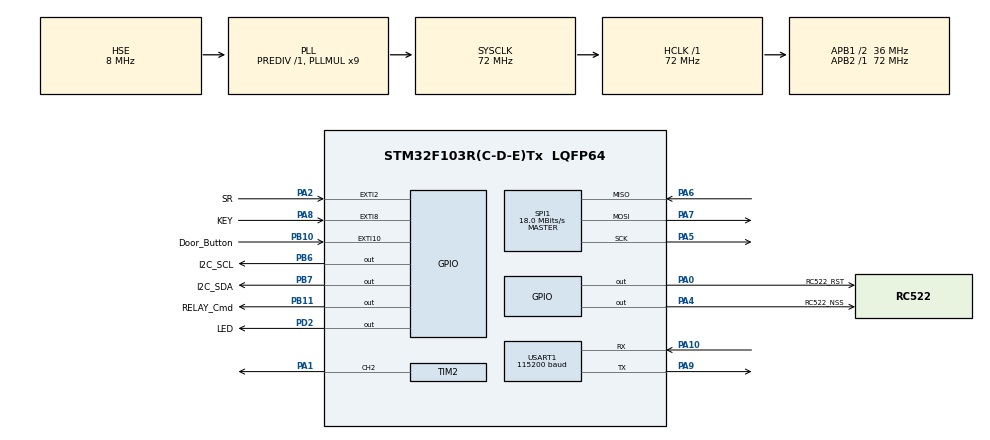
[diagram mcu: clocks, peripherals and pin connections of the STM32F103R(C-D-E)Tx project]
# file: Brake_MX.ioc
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Mcu.Family=STM32F1
Mcu.Name=STM32F103R(C-D-E)Tx
Mcu.Package=LQFP64
NVIC.EXTI15_10_IRQn=true\:15\:0\:true\:false\:true\:true\:true\:true
NVIC.EXTI9_5_IRQn=true\:15\:0\:true\:false\:true\:true\:true\:true
NVIC.PriorityGroup=NVIC_PRIORITYGROUP_4
PA0-WKUP.GPIO_Label=RC522_RST
PA0-WKUP.GPIO_ModeDefaultOutputPP=GPIO_MODE_OUTPUT_PP
PA0-WKUP.GPIO_PuPd=GPIO_PULLUP
PA0-WKUP.PinState=GPIO_PIN_SET
PA0-WKUP.Signal=GPIO_Output
PA1.Signal=S_TIM2_CH2
PA10.Mode=Asynchronous
PA10.Signal=USART1_RX
PA2.GPIO_Label=SR
PA2.GPIO_ModeDefaultEXTI=GPIO_MODE_IT_FALLING
PA2.GPIO_PuPd=GPIO_PULLUP
PA2.Signal=GPXTI2
PA4.GPIO_Label=RC522_NSS
PA4.GPIO_PuPd=GPIO_PULLUP
PA4.PinState=GPIO_PIN_SET
PA4.Signal=GPIO_Output
PA5.GPIO_Speed=GPIO_SPEED_FREQ_HIGH
PA5.Mode=Full_Duplex_Master
PA5.Signal=SPI1_SCK
PA6.GPIO_Mode=GPIO_MODE_INPUT
PA6.GPIO_PuPd=GPIO_NOPULL
PA6.Mode=Full_Duplex_Master
PA6.Signal=SPI1_MISO
PA7.Mode=Full_Duplex_Master
PA7.Signal=SPI1_MOSI
PA8.GPIO_Label=KEY
PA8.GPIO_ModeDefaultEXTI=GPIO_MODE_IT_FALLING
PA8.GPIO_PuPd=GPIO_PULLUP
PA8.Signal=GPXTI8
PA9.Mode=Asynchronous
PA9.Signal=USART1_TX
PB10.GPIO_Label=Door_Button
PB10.GPIO_ModeDefaultEXTI=GPIO_MODE_IT_FALLING
PB10.GPIO_PuPd=GPIO_PULLUP
PB10.Signal=GPXTI10
PB11.GPIO_Label=RELAY_Cmd
PB11.GPIO_PuPd=GPIO_PULLUP
PB11.PinState=GPIO_PIN_SET
PB11.Signal=GPIO_Output
PB6.GPIO_Label=I2C_SCL
PB6.GPIO_ModeDefaultOutputPP=GPIO_MODE_OUTPUT_OD
PB6.GPIO_PuPd=GPIO_PULLUP
PB6.GPIO_Speed=GPIO_SPEED_FREQ_HIGH
PB6.PinState=GPIO_PIN_SET
PB6.Signal=GPIO_Output
PB7.GPIO_Label=I2C_SDA
PB7.GPIO_ModeDefaultOutputPP=GPIO_MODE_OUTPUT_OD
PB7.GPIO_PuPd=GPIO_PULLUP
PB7.GPIO_Speed=GPIO_SPEED_FREQ_HIGH
PB7.PinState=GPIO_PIN_SET
PB7.Signal=GPIO_Output
PD0-OSC_IN.Mode=HSE-External-Oscillator
PD0-OSC_IN.Signal=RCC_OSC_IN
PD1-OSC_OUT.Mode=HSE-External-Oscillator
PD1-OSC_OUT.Signal=RCC_OSC_OUT
PD2.GPIO_Label=LED
PD2.GPIO_PuPd=GPIO_PULLUP
PD2.PinState=GPIO_PIN_SET
PD2.Signal=GPIO_Output
ProjectManager.HeapSize=0x200
ProjectManager.StackSize=0x400
ProjectManager.TargetToolchain=MDK-ARM V5.32
RCC.AHBFreq_Value=72000000
RCC.APB1CLKDivider=RCC_HCLK_DIV2
RCC.APB1Freq_Value=36000000
RCC.APB1TimFreq_Value=72000000
RCC.APB2Freq_Value=72000000
RCC.APB2TimFreq_Value=72000000
RCC.HCLKFreq_Value=72000000
RCC.PLLMUL=RCC_PLL_MUL9
RCC.PLLSourceVirtual=RCC_PLLSOURCE_HSE
RCC.SYSCLKFreq_VALUE=72000000
RCC.SYSCLKSource=RCC_SYSCLKSOURCE_PLLCLK
RCC.USBFreq_Value=72000000
SH.S_TIM2_CH2.0=TIM2_CH2,PWM Generation2 CH2
SPI1.BaudRatePrescaler=SPI_BAUDRATEPRESCALER_4
SPI1.CLKPhase=SPI_PHASE_2EDGE
SPI1.CLKPolarity=SPI_POLARITY_HIGH
SPI1.CalculateBaudRate=18.0 MBits/s
SPI1.Direction=SPI_DIRECTION_2LINES
SPI1.Mode=SPI_MODE_MASTER
SPI1.VirtualType=VM_MASTER
TIM2.AutoReloadPreload=TIM_AUTORELOAD_PRELOAD_ENABLE
TIM2.Channel-PWM\ Generation2\ CH2=TIM_CHANNEL_2
TIM2.Period=200
TIM2.Prescaler=7199
TIM2.Pulse-PWM\ Generation2\ CH2=10
USART1.BaudRate=115200
USART1.VirtualMode=VM_ASYNC
VP_SYS_VS_ND.Mode=No_Debug
VP_TIM2_VS_ClockSourceINT.Mode=Internal
board=custom

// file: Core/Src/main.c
/* USER CODE BEGIN Header */
/**
  ******************************************************************************
  * @file           : main.c
  * @brief          : Main program body
  ******************************************************************************
  * @attention
  *
  * Copyright (c) 2023 STMicroelectronics.
  * All rights reserved.
  *
  * This software is licensed under terms that can be found in the LICENSE file
  * in the root directory of this software component.
  * If no LICENSE file comes with this software, it is provided AS-IS.
  *
  ******************************************************************************
  */
/* USER CODE END Header */
#include "main.h"
#include "spi.h"
#include "tim.h"
#include "usart.h"
#include "gpio.h"

/* USER CODE BEGIN Includes */
#include "bsp_at24c02.h"
#include "bsp_rc522.h"
#include "brake.h"
#include "show.h"
/* USER CODE END Includes */

/* USER CODE BEGIN PM */
void IIC_Init(void);		//初始化引脚
/* USER CODE END PM */

/* USER CODE BEGIN PV */
uint8_t EEPORM[256] = {0};
uint8_t cardbuf[4];       //用来存储读到的卡号

uint8_t SystemStatus = SYSTEMSTATUS_WAIT;
/* USER CODE END PV */

void SystemClock_Config(void);

int main(void)
{
  /* USER CODE BEGIN 1 */
  uint8_t res;              //用来存储读取结果

  /* USER CODE END 1 */

  /* MCU Configuration--------------------------------------------------------*/

  /* Reset of all peripherals, Initializes the Flash interface and the Systick. */
  HAL_Init();

  /* Configure the system clock */
  SystemClock_Config();

  /* Initialize all configured peripherals */
  MX_GPIO_Init();
  MX_SPI1_Init();
  MX_TIM2_Init();
  MX_USART1_UART_Init();
  /* USER CODE BEGIN 2 */
  InitializeSystem();     /* RC522的初始化，不包括GPIO  */
  IIC_Init();             /* AT24C02不需要初始化，IIC引脚已经在GPIO_Init()里初始化了 */
  Card_Load();            /* 加载卡片数据 */

  HAL_TIM_PWM_Start(&htim2 , TIM_CHANNEL_2);
  Show_State();

  AT24C02_Clear(0x00);
  Card_Load();            /* 加载卡片数据 */
  /* USER CODE END 2 */

  /* Infinite loop */
  /* USER CODE BEGIN WHILE */
  while (1)
  {
    res = RC522_Read(cardbuf);

    if(!res)continue;                       /* 没读到的卡，继续循环 */
    if(SystemStatus == SYSTEMSTATUS_WAIT)    //等卡状态
    {
      if(Card_Check(cardbuf))
      {
        Show_Open(1);
        Door_Open();
      }
      else
      {
        Show_Open(0);
        HAL_Delay(2000);
      }
      //print_Card(cardbuf);
    }

    if(SystemStatus == SYSTEMSTATUS_ADD)    /* 增加卡片状态 */
    {
      if(Card_Check(cardbuf))
      {
        Show_Add(0);
      }
      else
      {
        Show_Add(1);
        Card_Save(cardbuf);
        //AT24C02_Read();                   /* 调试用 */
        SystemStatus = SYSTEMSTATUS_WAIT;   /* 回到等卡状态 */
      }
      //print_Card(cardbuf);                /* 调试用 */
    }

    if(SystemStatus == SYSTEMSTATUS_DEL)
    {
      if(Card_Check(cardbuf))
      {
        Show_Delete(1);
        Card_Del(Card_Check(cardbuf));
        //AT24C02_Read();
        SystemStatus = SYSTEMSTATUS_WAIT;   /* 回到等卡状态 */
      }
      else
      {
        Show_Delete(0);
      }
      //print_Card(cardbuf);
    }

    Show_State();           /* 显示状态 */
    /* USER CODE END WHILE */

  }
}

void SystemClock_Config(void)
{
  RCC_OscInitTypeDef RCC_OscInitStruct = {0};
  RCC_ClkInitTypeDef RCC_ClkInitStruct = {0};

  /** Initializes the RCC Oscillators according to the specified parameters
  * in the RCC_OscInitTypeDef structure.
  */
  RCC_OscInitStruct.OscillatorType = RCC_OSCILLATORTYPE_HSE;
  RCC_OscInitStruct.HSEState = RCC_HSE_ON;
  RCC_OscInitStruct.HSEPredivValue = RCC_HSE_PREDIV_DIV1;
  RCC_OscInitStruct.HSIState = RCC_HSI_ON;
  RCC_OscInitStruct.PLL.PLLState = RCC_PLL_ON;
  RCC_OscInitStruct.PLL.PLLSource = RCC_PLLSOURCE_HSE;
  RCC_OscInitStruct.PLL.PLLMUL = RCC_PLL_MUL9;
  if (HAL_RCC_OscConfig(&RCC_OscInitStruct) != HAL_OK)
  {
    Error_Handler();
  }

  /** Initializes the CPU, AHB and APB buses clocks
  */
  RCC_ClkInitStruct.ClockType = RCC_CLOCKTYPE_HCLK|RCC_CLOCKTYPE_SYSCLK
                              |RCC_CLOCKTYPE_PCLK1|RCC_CLOCKTYPE_PCLK2;
  RCC_ClkInitStruct.SYSCLKSource = RCC_SYSCLKSOURCE_PLLCLK;
  RCC_ClkInitStruct.AHBCLKDivider = RCC_SYSCLK_DIV1;
  RCC_ClkInitStruct.APB1CLKDivider = RCC_HCLK_DIV2;
  RCC_ClkInitStruct.APB2CLKDivider = RCC_HCLK_DIV1;

  if (HAL_RCC_ClockConfig(&RCC_ClkInitStruct, FLASH_LATENCY_2) != HAL_OK)
  {
    Error_Handler();
  }
}

void Error_Handler(void)
{
  __disable_irq();
  while (1)
  {
  }
}
